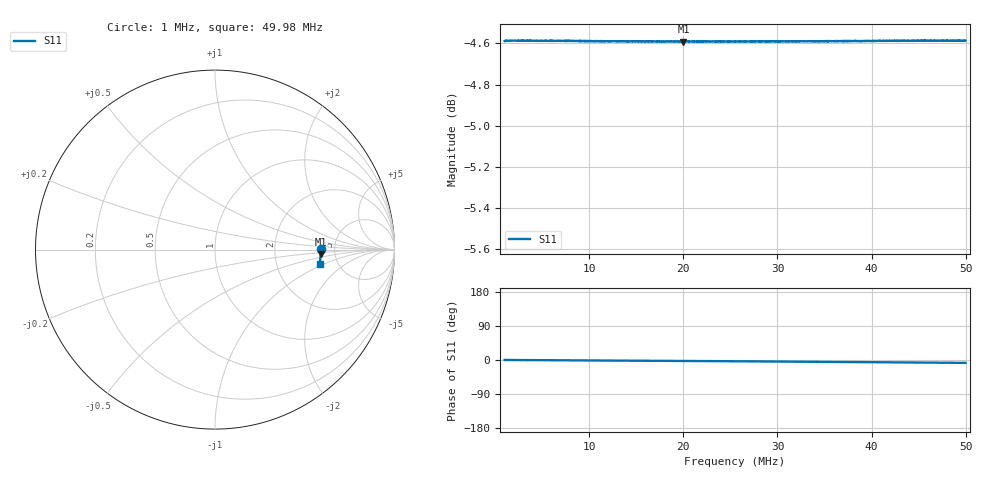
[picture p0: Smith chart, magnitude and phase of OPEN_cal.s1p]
! Created with skrf (http://scikit-rf.org).
# Hz S RI R 50.0
!freq ReS11 ImS11
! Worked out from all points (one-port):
!   2000 points, 1 MHz to 49.98 MHz, reference 50 ohm
!   lowest |S11| = -4.6 dB at 20.01 MHz (marker M1), VSWR 3.87, Z = 192 - j15.5 ohm
!   |S11| at or under -10 dB: nowhere
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1000000  0.5896 0.00101
1220500  0.5897 0.000715
2837500  0.5898 -0.00184
4454500  0.5897 -0.00428
5679500  0.5896 -0.00596
7125000  0.5896 -0.00805
1.0261e7  0.5894 -0.0126
1.325e7  0.5893 -0.0167
1.77335e7  0.589 -0.023
1.9375e7  0.5889 -0.0254
2.0012e7  0.5888 -0.0263
2.1188e7  0.5889 -0.028
2.3981e7  0.5886 -0.0321
2.55e7  0.5885 -0.0344
2.6823e7  0.5884 -0.0364
2.89055e7  0.5881 -0.0396
3.1625e7  0.5879 -0.0441
3.44425e7  0.5876 -0.0489
3.62065e7  0.5874 -0.052
3.775e7  0.5871 -0.0547
4.10085e7  0.5866 -0.0606
4.27725e7  0.5863 -0.0638
4.3287e7  0.5862 -0.0648
4.3875e7  0.586 -0.0659
4.7501e7  0.5853 -0.0727
4.97305e7  0.5846 -0.077
4.9853e7  0.5846 -0.0773
4.99755e7  0.5846 -0.0775
